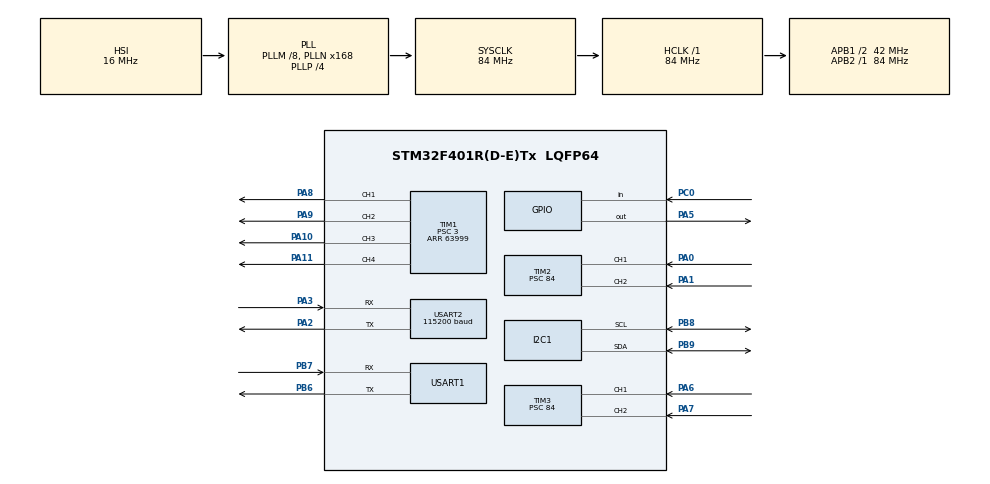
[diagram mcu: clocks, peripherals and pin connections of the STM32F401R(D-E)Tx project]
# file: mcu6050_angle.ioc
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Mcu.Family=STM32F4
SH.S_TIM1_CH4.0=TIM1_CH4,PWM Generation4 CH4
RCC.CortexFreq_Value=84000000
TIM1.OCFastMode_PWM-PWM\ Generation1\ CH1=TIM_OCFAST_DISABLE
PC0.Signal=GPIO_Input
RCC.APB1CLKDivider=RCC_HCLK_DIV2
NVIC.USART2_IRQn=true\:0\:0\:false\:false\:true\:true\:true
USART2.BaudRate=115200
RCC.SYSCLKSource=RCC_SYSCLKSOURCE_PLLCLK
ProjectManager.StackSize=0x400
PA0-WKUP.Signal=S_TIM2_CH1_ETR
PA3.Mode=Asynchronous
SH.S_TIM2_CH2.0=TIM2_CH2,Encoder_Interface
TIM1.Prescaler=3
SH.S_TIM1_CH1.0=TIM1_CH1,PWM Generation1 CH1
ProjectManager.TargetToolchain=STM32CubeIDE
I2C1.I2C_Mode=I2C_Fast
TIM1.Channel-PWM\ Generation4\ CH4=TIM_CHANNEL_4
RCC.HCLKFreq_Value=84000000
PB9.Mode=I2C
RCC.APB2TimFreq_Value=84000000
PA9.Signal=S_TIM1_CH2
PB6.Signal=USART1_TX
VP_TIM10_VS_ClockSourceINT.Mode=Enable_Timer
TIM1.Channel-PWM\ Generation2\ CH2=TIM_CHANNEL_2
PB6.Mode=Asynchronous
RCC.LSE_VALUE=32768
PA1.Signal=S_TIM2_CH2
RCC.AHBFreq_Value=84000000
PA5.Signal=GPIO_Output
SH.S_TIM3_CH2.0=TIM3_CH2,Encoder_Interface
RCC.HSE_VALUE=25000000
board=custom
RCC.VCOOutputFreq_Value=336000000
RCC.APB2Freq_Value=84000000
SH.S_TIM1_CH2.0=TIM1_CH2,PWM Generation2 CH2
TIM1.Channel-PWM\ Generation1\ CH1=TIM_CHANNEL_1
TIM3.Prescaler=84
PB7.Signal=USART1_RX
PA8.Signal=S_TIM1_CH1
SH.S_TIM3_CH1.0=TIM3_CH1,Encoder_Interface
TIM2.Period=65535
Mcu.Name=STM32F401R(D-E)Tx
PA2.Signal=USART2_TX
I2C1.OwnAddress=0
RCC.48MHZClocksFreq_Value=84000000
RCC.SYSCLKFreq_VALUE=84000000
Mcu.Package=LQFP64
PB9.Signal=I2C1_SDA
TIM2.Prescaler=84
PA6.Signal=S_TIM3_CH1
USART2.VirtualMode=VM_ASYNC
USART1.VirtualMode=VM_ASYNC
PB7.Mode=Asynchronous
PA11.Signal=S_TIM1_CH4
SH.S_TIM2_CH1_ETR.0=TIM2_CH1,Encoder_Interface
PA10.Signal=S_TIM1_CH3
ProjectManager.HeapSize=0x200
SH.S_TIM1_CH3.0=TIM1_CH3,PWM Generation3 CH3
NVIC.TIM1_UP_TIM10_IRQn=true\:0\:0\:false\:false\:true\:true\:true
RCC.HSI_VALUE=16000000
RCC.PLLP=RCC_PLLP_DIV4
NVIC.PriorityGroup=NVIC_PRIORITYGROUP_4
RCC.PLLM=8
PB8.Mode=I2C
RCC.PLLN=168
RCC.APB1TimFreq_Value=84000000
PB8.Signal=I2C1_SCL
PA2.Mode=Asynchronous
TIM1.Period=63999
TIM1.Channel-PWM\ Generation3\ CH3=TIM_CHANNEL_3
NVIC.USART1_IRQn=true\:0\:0\:false\:false\:true\:true\:true
RCC.APB1Freq_Value=42000000
USART2.Mode=MODE_TX_RX
PA3.Signal=USART2_RX
PA7.Signal=S_TIM3_CH2

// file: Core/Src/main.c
/* USER CODE BEGIN Header */
/**
  ******************************************************************************
  * @file           : main.c
  * @brief          : Main program body
  ******************************************************************************
  * @attention
  *
  * <h2><center>&copy; Copyright (c) 2021 STMicroelectronics.
  * All rights reserved.</center></h2>
  *
  * This software component is licensed by ST under BSD 3-Clause license,
  * the "License"; You may not use this file except in compliance with the
  * License. You may obtain a copy of the License at:
  *                        opensource.org/licenses/BSD-3-Clause
  *
  ******************************************************************************
  */
/* USER CODE END Header */
#include "main.h"
#include "i2c.h"
#include "tim.h"
#include "usart.h"
#include "gpio.h"

/* USER CODE BEGIN Includes */
#include <stdlib.h>
#include <string.h>
#include <math.h>

#include "led.h"
#include "mpu6050_k.h"
#include "pid_controller.h"
#include "supervisor.h"
#include "hbridge.h"

/* USER CODE END Includes */

/* USER CODE BEGIN PD */

// Equilibrium PID parameters
#define KP_ANGLE 		(123)
#define KI_ANGLE		(78)
#define KD_ANGLE 		(50)

#define DT 				(15)

// Uncomment if you want use UART2 TX pin (same on USB, speed 115200) to read
// actual angle and cycle time.
//#define PRINT_DEBUG

/* USER CODE END PD */

/* USER CODE BEGIN PV */

#if defined (PRINT_DEBUG)
// Buffer for debugging print
char buffer[10];
#endif

uint32_t tick;

/* USER CODE END PV */

void SystemClock_Config(void);
/* USER CODE BEGIN PFP */

void Balancing_Error_Handler(void);
void print_on_UART(void);
void MPU_Error_Handler(void);

/* USER CODE END PFP */

int main(void)
{

  /* MCU Configuration--------------------------------------------------------*/

  /* Reset of all peripherals, Initializes the Flash interface and the Systick. */
  HAL_Init();

  /* Configure the system clock */
  SystemClock_Config();

  /* Initialize all configured peripherals */
  MX_GPIO_Init();
  MX_I2C1_Init();
  MX_USART2_UART_Init();
  MX_TIM1_Init();
  MX_TIM2_Init();
  MX_TIM3_Init();
  MX_TIM10_Init();
  MX_USART1_UART_Init();
  /* USER CODE BEGIN 2 */

  // Error led start
  Led__init(&hled0, GPIOA, GPIO_PIN_5);

  // Start motor controller
  hbridge__init(&hhbridge, &htim1);

  // Start MPU device
  if (MPU6050__Init(&hmpu, &hi2c1))
  {
	  MPU_Error_Handler();
  }

  // Start supervisor
  FSM__init(&hfsm);
  hfsm_buffer = 0x00;
  HAL_UART_Receive_IT(&huart1, &hfsm_buffer, 1);

  // Start pid
  pid__init(&hangle_pid, KP_ANGLE, KI_ANGLE, KD_ANGLE, FSM__ANGLE_OFFSET);

  /* USER CODE END 2 */

  /* Infinite loop */
  while (1)
  {

    /* USER CODE BEGIN 3 */

	tick = HAL_GetTick();

	/* ---------------------------------- READ INPUT ---------------------------------- */
	// Read the tilt angle.
	if (MPU6050__Read_All(&hmpu))
	{
		MPU_Error_Handler();
	}

	// Check for SBR is stand up. If it fallen stop the motor and the interrupt and attemps
	// for a reboot.
	if (fabs(hmpu.KalmanAngleY) > 60)
	{
		Balancing_Error_Handler();
	}

	/* ---------------------------------- EVALUATE OUTPUT ---------------------------------- */
	// Evaluate offset and target using the control byte received from esp32.
	FSM__update(&hfsm);

	// Use pid to evaluate the actual needed motor power.
	int64_t tilt_pwm = pid__evaluate_output(&hangle_pid, (int)(hmpu.KalmanAngleY * 100));

	/* ---------------------------------- WRITE OUTPUT ---------------------------------- */
	// Now control the motor with the previous calculation.
	hbridge__set_motor(&hhbridge, tilt_pwm + hfsm.left_target, tilt_pwm + hfsm.right_target);

#if defined (PRINT_DEBUG)
	print_on_UART();
#endif

	HAL_Delay(DT - (HAL_GetTick() - tick));
  }
  /* USER CODE END 3 */
}

void SystemClock_Config(void)
{
  RCC_OscInitTypeDef RCC_OscInitStruct = {0};
  RCC_ClkInitTypeDef RCC_ClkInitStruct = {0};

  /** Configure the main internal regulator output voltage
  */
  __HAL_RCC_PWR_CLK_ENABLE();
  __HAL_PWR_VOLTAGESCALING_CONFIG(PWR_REGULATOR_VOLTAGE_SCALE2);
  /** Initializes the RCC Oscillators according to the specified parameters
  * in the RCC_OscInitTypeDef structure.
  */
  RCC_OscInitStruct.OscillatorType = RCC_OSCILLATORTYPE_HSI;
  RCC_OscInitStruct.HSIState = RCC_HSI_ON;
  RCC_OscInitStruct.HSICalibrationValue = RCC_HSICALIBRATION_DEFAULT;
  RCC_OscInitStruct.PLL.PLLState = RCC_PLL_ON;
  RCC_OscInitStruct.PLL.PLLSource = RCC_PLLSOURCE_HSI;
  RCC_OscInitStruct.PLL.PLLM = 8;
  RCC_OscInitStruct.PLL.PLLN = 168;
  RCC_OscInitStruct.PLL.PLLP = RCC_PLLP_DIV4;
  RCC_OscInitStruct.PLL.PLLQ = 4;
  if (HAL_RCC_OscConfig(&RCC_OscInitStruct) != HAL_OK)
  {
    Error_Handler();
  }
  /** Initializes the CPU, AHB and APB buses clocks
  */
  RCC_ClkInitStruct.ClockType = RCC_CLOCKTYPE_HCLK|RCC_CLOCKTYPE_SYSCLK
                              |RCC_CLOCKTYPE_PCLK1|RCC_CLOCKTYPE_PCLK2;
  RCC_ClkInitStruct.SYSCLKSource = RCC_SYSCLKSOURCE_PLLCLK;
  RCC_ClkInitStruct.AHBCLKDivider = RCC_SYSCLK_DIV1;
  RCC_ClkInitStruct.APB1CLKDivider = RCC_HCLK_DIV2;
  RCC_ClkInitStruct.APB2CLKDivider = RCC_HCLK_DIV1;

  if (HAL_RCC_ClockConfig(&RCC_ClkInitStruct, FLASH_LATENCY_2) != HAL_OK)
  {
    Error_Handler();
  }
}

/* USER CODE BEGIN 4 */

void Balancing_Error_Handler(void)
{
	// Disable control message IRQ
	HAL_NVIC_DisableIRQ(USART1_IRQn);

	// Stop motor
	hbridge__set_motor(&hhbridge, 0, 0);

	// Blink led
	TIM10->PSC = 11999;
	TIM10->ARR = 6999;
	HAL_TIM_Base_Start_IT(&htim10);

	// Wait for reset
	while (1)
	{

	}
}

void MPU_Error_Handler(void)
{
	// Disable control message IRQ
	HAL_NVIC_DisableIRQ(USART1_IRQn);

	// Stop motor
	hbridge__set_motor(&hhbridge, 0, 0);

	// Blink led
	TIM10->PSC = 11999;
	TIM10->ARR = 3749;
	HAL_TIM_Base_Start_IT(&htim10);

	// Wait for reset
	while (1)
	{

	}
}

#if defined (PRINT_DEBUG)
void print_on_UART(void)
{
	HAL_UART_Transmit(&huart2, (uint8_t *) "x: ", 3, 0xFFFF);
	gcvt(hmpu.KalmanAngleY, 6, buffer);
	strcat(buffer, "\r\n\0\0\0\0\0\0\0\0\0\0\0\0\0\0\0\0\0\0\0\0\0\0\0");
	HAL_UART_Transmit(&huart2, (uint8_t *) buffer, 10, 0xFFFF);

	HAL_UART_Transmit(&huart2, (uint8_t *) "y: ", 3, 0xFFFF);
	gcvt(hmpu.KalmanAngleY, 6, buffer);
	strcat(buffer, "\r\n\0\0\0\0\0\0\0\0\0\0\0\0\0\0\0\0\0\0\0\0\0\0\0");
	HAL_UART_Transmit(&huart2, (uint8_t *) buffer, 10, 0xFFFF);

	HAL_UART_Transmit(&huart2, (uint8_t *) "el: ", 4, 0xFFFF);
	itoa((int) hencoderl.cnt, buffer, 10);
	strcat(buffer, "\r\n\0\0\0\0\0\0\0\0\0\0\0\0\0\0\0\0\0\0\0\0\0\0\0");
	HAL_UART_Transmit(&huart2, (uint8_t *) buffer, 10, 0xFFFF);

	HAL_UART_Transmit(&huart2, (uint8_t *) "er: ", 4, 0xFFFF);
	itoa((int) hencoderr.cnt, buffer, 10);
	strcat(buffer, "\r\n\0\0\0\0\0\0\0\0\0\0\0\0\0\0\0\0\0\0\0\0\0\0\0");
	HAL_UART_Transmit(&huart2, (uint8_t *) buffer, 10, 0xFFFF);

	HAL_UART_Transmit(&huart2, (uint8_t *) "c.b. : ", 5, 0xFFFF);
	itoa(hfsm.current_control_message, buffer, 10);
	strcat(buffer, "\r\n\0\0\0\0\0\0\0\0\0\0\0\0\0\0\0\0\0\0\0\0\0\0\0");
	HAL_UART_Transmit(&huart2, (uint8_t *) buffer, 10, 0xFFFF);

	HAL_UART_Transmit(&huart2, (uint8_t *) "el.t: ", 6, 0xFFFF);
	itoa(HAL_GetTick() - tick, buffer, 10);
	strcat(buffer, "\r\n\0\0\0\0\0\0\0\0\0\0\0\0\0\0\0\0\0\0\0\0\0\0\0");
	HAL_UART_Transmit(&huart2, (uint8_t *) buffer, 10, 0xFFFF);
}
#endif

/* USER CODE END 4 */

void Error_Handler(void)
{
  __disable_irq();
  while (1)
  {
  }
}

/************************ (C) COPYRIGHT STMicroelectronics *****END OF FILE****/
